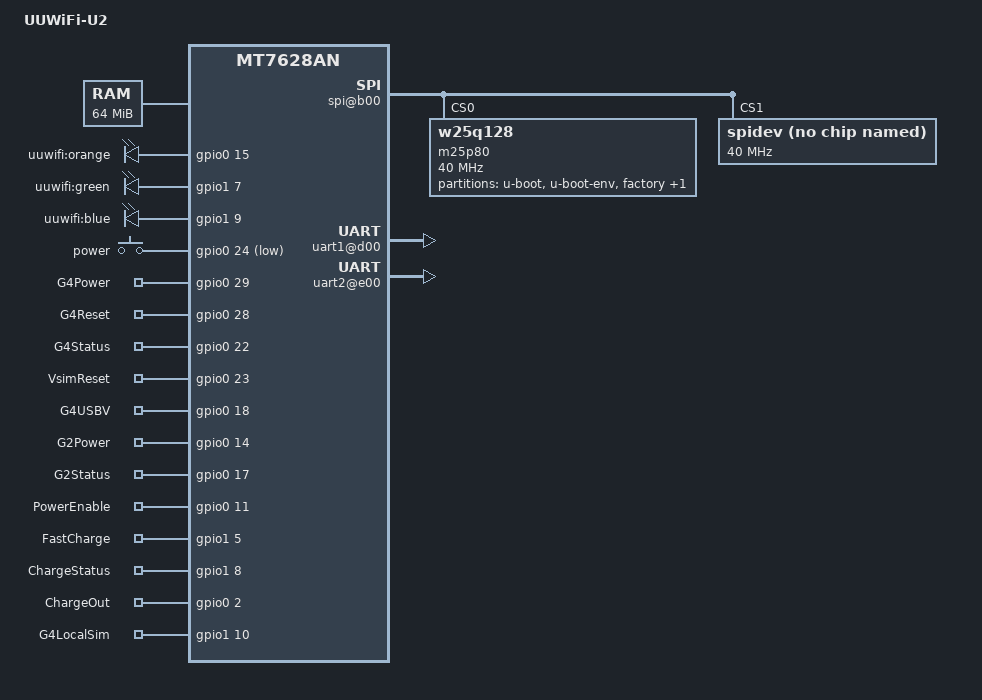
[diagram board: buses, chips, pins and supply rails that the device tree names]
/dts-v1/;

/include/ "mt7628an.dtsi"

/ {
	compatible = "mediatek,uuwifi", "mediatek,mt7628an-soc";
	model = "UUWiFi-U2";

	chosen {
		bootargs = "console=ttyS2,230400";
	};

	memory@0 {
		device_type = "memory";
		reg = <0x0 0x4000000>;
	};

	pinctrl {
		state_default: pinctrl0 {
			gpio {
				ralink,group = "spis", "gpio", "sdmode", "pwm0", "refclk", "i2c", "i2s", "p1led_an", "p3led_an", "p4led_an";
				ralink,function = "gpio";
			};
		};
	};


	palmbus@10000000 {
		spi@b00 {
			status = "okay";

			pinctrl-names = "default";
			pinctrl-0 = <&spi_pins>, <&spi_cs1_pins>;

			m25p80@0 {
				#address-cells = <1>;
				#size-cells = <1>;
				compatible = "w25q128";
				reg = <0 0>;
				linux,modalias = "m25p80", "w25q128";
				spi-max-frequency = <40000000>;
				m25p,chunked-io = <31>;

				partition@0 {
					label = "u-boot";
					reg = <0x0 0x30000>;
					read-only;
				};

				partition@30000 {
					label = "u-boot-env";
					reg = <0x30000 0x10000>;
				};

				factory: partition@40000 {
					label = "factory";
					reg = <0x40000 0x10000>;
				};

				partition@50000 {
					label = "firmware";
					reg = <0x50000 0xfb0000>;
				};
			};
			
			spidev@1 {
				#address-cells = <1>;
				#size-cells = <1>;
				compatible = "spidev";
				reg = <1 0>;
				spi-max-frequency = <40000000>;
			};			
		};


		uart1@d00 {
			status = "okay";
		};

		uart2@e00 {
			status = "okay";
		};

	};

	ethernet@10100000 {
		mtd-mac-address = <&factory 0x28>;
	};


	gpio-leds {
		compatible = "gpio-leds";
		orange_led {
			label = "uuwifi:orange";
			gpios = <&gpio0 15 0>;
			default-state = "on";
		};
		
		green_led {
			label = "uuwifi:green";
			gpios = <&gpio1 7 0>;
		};
		
		blue_led {
			label = "uuwifi:blue";
			gpios = <&gpio1 9 0>;
		};

	};

	gpio-keys-polled {
		compatible = "gpio-keys-polled";
		#address-cells = <1>;
		#size-cells = <0>;
		poll-interval = <20>;
		power {
			label = "power";
			gpios = <&gpio0 24 1>;
			linux,code = <116>;
		};
	};


	gpio_export {
		compatible = "gpio-export";
		#size-cells = <0>;

		lte4power {
			gpio-export,name = "G4Power";
			gpio-export,output = <0>;
			gpios = <&gpio0 29 0>;      //GPIO_ACTIVE_HIGH
		};

		lte4reset {
			gpio-export,name = "G4Reset";
			gpio-export,output = <0>;
			gpios = <&gpio0 28 0>;
		};

		lte4status {
			gpio-export,name = "G4Status";
			gpio-export,input = <0>;
			gpios = <&gpio0 22 0>;      //GPIO_ACTIVE_HIGH
		};
		
		
		vsimreset {
			gpio-export,name = "VsimReset";
			gpio-export,input = <1>;
			gpios = <&gpio0 23 0>;
		};
				

		lte4usbv {
			gpio-export,name = "G4USBV";
			gpio-export,output = <1>;   //OUT_INIT_HIGH
			gpios = <&gpio0 18 0>;
		};

		gprs2power {
			gpio-export,name = "G2Power";
			gpio-export,output = <0>;
			gpios = <&gpio0 14 0>;
		};

		gprs2status {
			gpio-export,name = "G2Status";
			gpio-export,input = <0>;
			gpios = <&gpio0 17 0>;
		};

		powerenable {
			gpio-export,name = "PowerEnable";
			gpio-export,output = <1>;    //OUT_INIT_HIGH
			gpios = <&gpio0 11 0>;       //GPIO_ACTIVE_HIGH
		};

		fastcharge {
			gpio-export,name = "FastCharge";
			gpio-export,output = <1>;   
			gpios = <&gpio1 5 0>;     //GPIO#37
		};

		chargestatus {
			gpio-export,name = "ChargeStatus";
			gpio-export,input = <0>;   
			gpios = <&gpio1 8 0>;     //GPIO#40
		};

		chargeout {
			gpio-export,name = "ChargeOut";
			gpio-export,output = <0>;   //OUT_INIT_LOW
			gpios = <&gpio0 2 0>;     
		};

		lte4localsim {
			gpio-export,name = "G4LocalSim";
			gpio-export,input = <0>;   
			gpios = <&gpio1 10 0>;      //GPIO#42
		};		
	};






};
